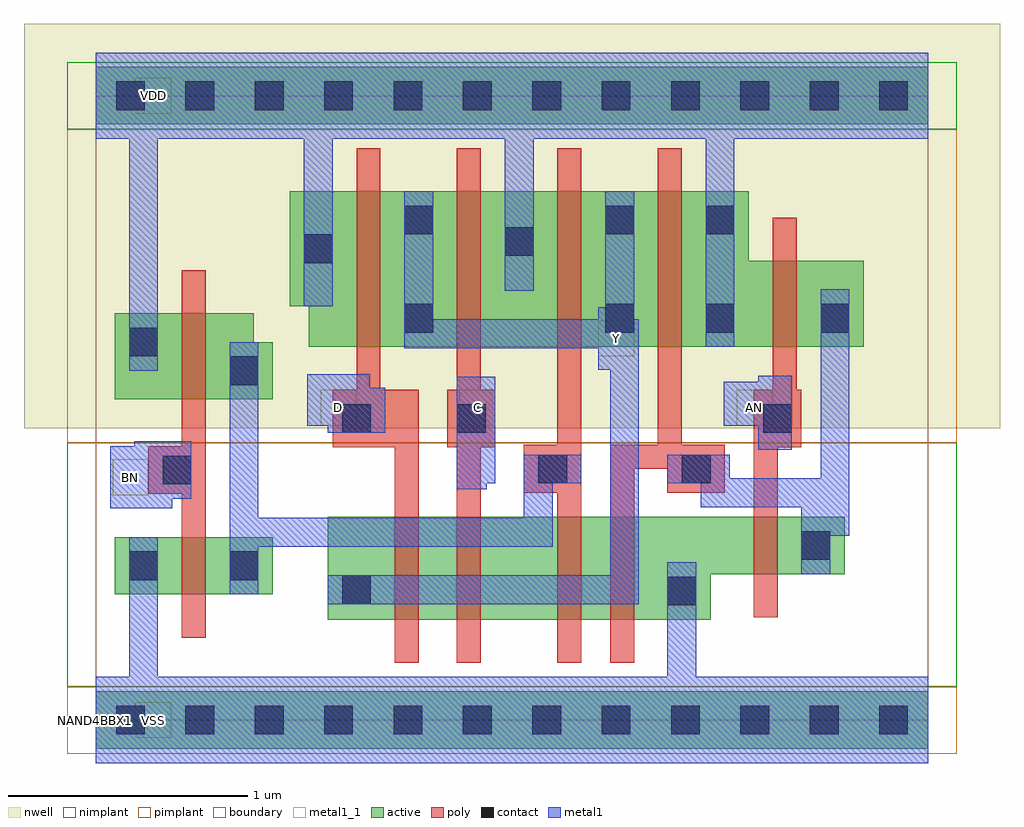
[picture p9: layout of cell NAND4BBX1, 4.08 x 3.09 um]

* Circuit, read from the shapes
.subckt NAND4BBX1 AN BN C D VDD VSS Y
M1 n1 BN VSS VSS nfet w=0.24u l=0.1u
M2 n2 D Y VSS nfet w=0.43u l=0.1u
M3 n3 C n2 VSS nfet w=0.43u l=0.1u
M4 n4 n1 n3 VSS nfet w=0.43u l=0.1u
M5 VSS n5 n4 VSS nfet w=0.43u l=0.1u
M6 n5 AN VSS VSS nfet w=0.24u l=0.1u
M7 n1 BN VDD VDD pfet w=0.36u l=0.1u
M8 Y D VDD VDD pfet w=0.65u l=0.1u
M9 VDD C Y VDD pfet w=0.65u l=0.1u
M10 Y n1 VDD VDD pfet w=0.65u l=0.1u
M11 VDD n5 Y VDD pfet w=0.65u l=0.1u
M12 n5 AN VDD VDD pfet w=0.36u l=0.1u
.ends

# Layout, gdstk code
import gdstk
lib = gdstk.Library(unit=1e-6, precision=5e-10)
def R(c, l, rs):  # rectangles x0, y0, x1, y1
    for r in rs: c.add(gdstk.rectangle(r[:2], r[2:], *l))
def A(c, l, x, y, w, h, nx, ny, dx, dy):  # array of equal rectangles
    R(c, l, [(x+i*dx, y+j*dy, x+i*dx+w, y+j*dy+h) for i in range(nx) for j in range(ny)])
active = (1, 0)
nwell = (2, 0)
poly = (3, 0)
nimplant = (4, 0)
pimplant = (5, 0)
contact = (6, 0)
metal1 = (7, 0)
metal1_1 = (7, 1)
boundary = (62, 0)

nand4bbx1 = lib.new_cell('NAND4BBX1')
R(nand4bbx1, active, [(0,-0.12,3.48,0.12), (0.97,0.42,2.57,0.61), (0.08,0.525,0.74,0.765), (0.97,0.61,3.13,0.85), (0.08,1.34,0.74,1.58), (0.89,1.56,3.21,1.73), (0.08,1.58,0.66,1.7), (0.81,1.73,3.21,1.92), (0.81,1.92,2.73,2.21), (0,2.49,3.48,2.73)])
R(nand4bbx1, nwell, [(-0.3,1.22,3.78,2.91)])
R(nand4bbx1, poly, [(1.25,0.24,1.35,1.14), (1.51,0.24,1.61,1.14), (1.93,0.24,2.03,0.95), (2.15,0.24,2.25,1.05), (0.36,0.345,0.46,0.945), (2.75,0.43,2.85,1.14), (0.22,0.945,0.46,1.145), (1.79,0.95,2.03,1.15), (2.39,0.95,2.63,1.05), (2.15,1.05,2.63,1.15), (0.99,1.14,1.35,1.38), (1.47,1.14,1.67,1.38), (2.75,1.14,2.95,1.38), (0.36,1.145,0.46,1.88), (1.93,1.15,2.03,2.39), (2.35,1.15,2.45,2.39), (1.09,1.38,1.19,2.39), (1.51,1.38,1.61,2.39), (2.83,1.38,2.93,2.1)])
R(nand4bbx1, nimplant, [(-0.12,0.14,3.6,1.16), (-0.12,2.47,3.6,2.75)])
R(nand4bbx1, pimplant, [(-0.12,-0.14,3.6,0.14), (-0.12,1.16,3.6,2.47)])
A(nand4bbx1, contact, 0.085, -0.06, 0.12, 0.12, 12, 2, 0.29, 2.61)
R(nand4bbx1, contact, [(2.39,0.48,2.51,0.6), (1.03,0.485,1.15,0.605), (0.14,0.585,0.26,0.705), (0.56,0.585,0.68,0.705), (2.95,0.67,3.07,0.79), (0.28,0.985,0.4,1.105), (1.85,0.99,1.97,1.11), (2.45,0.99,2.57,1.11), (1.03,1.2,1.15,1.32), (1.51,1.2,1.63,1.32), (2.79,1.2,2.91,1.32), (0.56,1.4,0.68,1.52), (0.14,1.52,0.26,1.64), (1.29,1.62,1.41,1.74), (2.13,1.62,2.25,1.74), (2.55,1.62,2.67,1.74), (3.03,1.62,3.15,1.74), (0.87,1.91,0.99,2.03), (1.71,1.94,1.83,2.06), (1.29,2.03,1.41,2.15), (2.13,2.03,2.25,2.15), (2.55,2.03,2.67,2.15)])
R(nand4bbx1, metal1, [(0,-0.18,3.48,0.18), (0.14,0.18,0.26,0.765), (2.39,0.18,2.51,0.66), (0.97,0.485,2.27,0.605), (0.56,0.525,0.68,0.725), (2.15,0.605,2.27,1.465), (2.95,0.61,3.07,0.77), (0.56,0.725,1.91,0.845), (2.95,0.77,3.15,0.89), (0.56,0.845,0.68,1.58), (1.79,0.845,1.91,0.99), (0.06,0.885,0.32,0.925), (2.53,0.89,3.15,0.99), (0.06,0.925,0.4,1.145), (1.51,0.965,1.635,0.99), (1.51,0.99,1.67,1.435), (1.79,0.99,2.03,1.11), (2.39,0.99,3.15,1.01), (2.39,1.01,2.65,1.11), (3.03,1.01,3.15,1.8), (2.77,1.13,2.91,1.23), (0.16,1.145,0.4,1.165), (0.97,1.2,1.21,1.23), (0.885,1.23,1.21,1.39), (2.625,1.23,2.91,1.415), (0.885,1.39,1.145,1.445), (2.77,1.415,2.91,1.44), (0.14,1.46,0.26,2.43), (2.1,1.465,2.27,1.555), (1.29,1.555,2.27,1.675), (2.55,1.56,2.67,2.43), (1.29,1.675,1.41,2.21), (2.1,1.675,2.25,1.725), (2.13,1.725,2.25,2.21), (0.87,1.73,0.99,2.43), (1.71,1.795,1.83,2.43), (0,2.43,3.48,2.79)])
R(nand4bbx1, metal1_1, [(0.165,-0.075,0.315,0.075), (0.07,0.94,0.22,1.09), (0.94,1.23,1.09,1.38), (1.52,1.23,1.67,1.38), (2.68,1.23,2.83,1.38), (2.1,1.52,2.25,1.67), (0.165,2.535,0.315,2.685)])
R(nand4bbx1, boundary, [(0,0,3.48,2.61)])
nand4bbx1.add(gdstk.Label('NAND4BBX1', (0,0), layer=63, texttype=0))
nand4bbx1.add(gdstk.Label('VSS', (0.24,0), layer=7, texttype=3))
nand4bbx1.add(gdstk.Label('VDD', (0.24,2.61), layer=7, texttype=3))
nand4bbx1.add(gdstk.Label('BN', (0.145,1.015), layer=7, texttype=3))
nand4bbx1.add(gdstk.Label('AN', (2.755,1.305), layer=7, texttype=3))
nand4bbx1.add(gdstk.Label('C', (1.595,1.305), layer=7, texttype=3))
nand4bbx1.add(gdstk.Label('D', (1.015,1.305), layer=7, texttype=3))
nand4bbx1.add(gdstk.Label('Y', (2.175,1.595), layer=7, texttype=3))

lib.write_gds('NAND4BBX1.gds')
